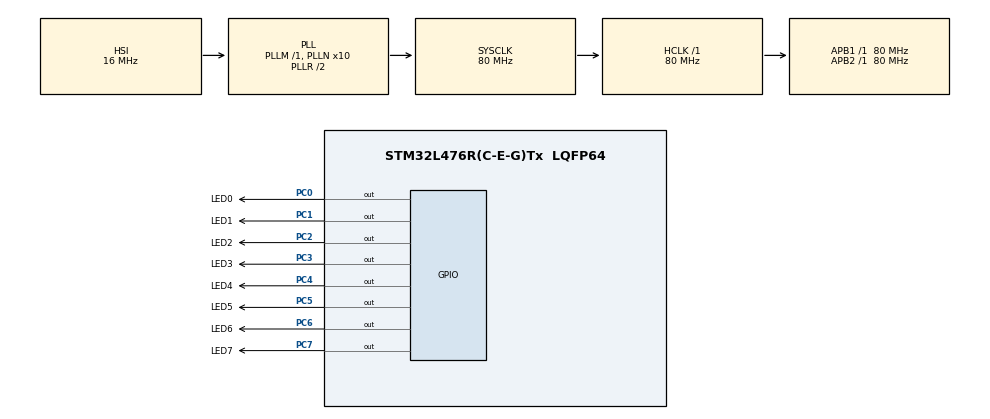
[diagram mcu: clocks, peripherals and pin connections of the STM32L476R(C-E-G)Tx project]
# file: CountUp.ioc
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Mcu.Family=STM32L4
Mcu.Name=STM32L476R(C-E-G)Tx
Mcu.Package=LQFP64
NVIC.PriorityGroup=NVIC_PRIORITYGROUP_4
PC0.GPIO_Label=LED0
PC0.Signal=GPIO_Output
PC1.GPIO_Label=LED1
PC1.Signal=GPIO_Output
PC2.GPIO_Label=LED2
PC2.Signal=GPIO_Output
PC3.GPIO_Label=LED3
PC3.Signal=GPIO_Output
PC4.GPIO_Label=LED4
PC4.Signal=GPIO_Output
PC5.GPIO_Label=LED5
PC5.Signal=GPIO_Output
PC6.GPIO_Label=LED6
PC6.Signal=GPIO_Output
PC7.GPIO_Label=LED7
PC7.Signal=GPIO_Output
PH0-OSC_IN\ (PH0).Mode=HSE-External-Oscillator
PH0-OSC_IN\ (PH0).Signal=RCC_OSC_IN
PH1-OSC_OUT\ (PH1).Mode=HSE-External-Oscillator
PH1-OSC_OUT\ (PH1).Signal=RCC_OSC_OUT
ProjectManager.HeapSize=0x200
ProjectManager.StackSize=0x400
ProjectManager.TargetToolchain=STM32CubeIDE
RCC.ADCFreq_Value=64000000
RCC.AHBFreq_Value=80000000
RCC.APB1Freq_Value=80000000
RCC.APB1TimFreq_Value=80000000
RCC.APB2Freq_Value=80000000
RCC.APB2TimFreq_Value=80000000
RCC.CortexFreq_Value=80000000
RCC.HCLKFreq_Value=80000000
RCC.HSE_VALUE=8000000
RCC.HSI_VALUE=16000000
RCC.LSE_VALUE=32768
RCC.MSI_VALUE=4000000
RCC.PLLN=10
RCC.PLLSourceVirtual=RCC_PLLSOURCE_HSI
RCC.SYSCLKFreq_VALUE=80000000
RCC.SYSCLKSource=RCC_SYSCLKSOURCE_PLLCLK
RCC.USBFreq_Value=64000000
RCC.VCOOutputFreq_Value=160000000
board=custom

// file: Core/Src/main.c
/* USER CODE BEGIN Header */
/**
  ******************************************************************************
  * @file           : main.c
  * @brief          : Main program body
  ******************************************************************************
  * @attention
  *
  * Copyright (c) 2024 STMicroelectronics.
  * All rights reserved.
  *
  * This software is licensed under terms that can be found in the LICENSE file
  * in the root directory of this software component.
  * If no LICENSE file comes with this software, it is provided AS-IS.
  *
  ******************************************************************************
  */
/* USER CODE END Header */
#include "main.h"
#include "math.h"

int count;

void SystemClock_Config(void);
static void MX_GPIO_Init(void);

int main(void)
{

  /* MCU Configuration--------------------------------------------------------*/

  /* Reset of all peripherals, Initializes the Flash interface and the Systick. */
  HAL_Init();

  /* Configure the system clock */
  SystemClock_Config();

  /* Initialize all configured peripherals */
  MX_GPIO_Init();
  /* USER CODE BEGIN 2 */
  int LED[]={LED0_Pin,LED1_Pin,LED2_Pin,LED3_Pin,LED4_Pin,LED5_Pin,LED6_Pin,LED7_Pin};

  void Display(int No, int L)
  {
	  int j, m, i;
	  m = L-1;
	  for (i=0;i<L;i++)
	  {
		  j=pow(2.0,m);
		  if((No & j) != 0)
		  {
			  HAL_GPIO_WritePin(GPIOC, LED[i], 1);
		  }else
		  {
			  HAL_GPIO_WritePin(GPIOC, LED[i], 0);
		  }
		  m--;
	  }
  }

  /* USER CODE END 2 */

  /* Infinite loop */
  /* USER CODE BEGIN WHILE */
  while (1)
  {

	  Display(count, 8);

	  if(count==255)
	  {
		  count=0;
	  }
	  else
	  {
		  ++count;
	  }
	  HAL_Delay(100);
    /* USER CODE END WHILE */

  }
}

void SystemClock_Config(void)
{
  RCC_OscInitTypeDef RCC_OscInitStruct = {0};
  RCC_ClkInitTypeDef RCC_ClkInitStruct = {0};

  /** Configure the main internal regulator output voltage
  */
  if (HAL_PWREx_ControlVoltageScaling(PWR_REGULATOR_VOLTAGE_SCALE1) != HAL_OK)
  {
    Error_Handler();
  }

  /** Initializes the RCC Oscillators according to the specified parameters
  * in the RCC_OscInitTypeDef structure.
  */
  RCC_OscInitStruct.OscillatorType = RCC_OSCILLATORTYPE_HSI;
  RCC_OscInitStruct.HSIState = RCC_HSI_ON;
  RCC_OscInitStruct.HSICalibrationValue = RCC_HSICALIBRATION_DEFAULT;
  RCC_OscInitStruct.PLL.PLLState = RCC_PLL_ON;
  RCC_OscInitStruct.PLL.PLLSource = RCC_PLLSOURCE_HSI;
  RCC_OscInitStruct.PLL.PLLM = 1;
  RCC_OscInitStruct.PLL.PLLN = 10;
  RCC_OscInitStruct.PLL.PLLP = RCC_PLLP_DIV7;
  RCC_OscInitStruct.PLL.PLLQ = RCC_PLLQ_DIV2;
  RCC_OscInitStruct.PLL.PLLR = RCC_PLLR_DIV2;
  if (HAL_RCC_OscConfig(&RCC_OscInitStruct) != HAL_OK)
  {
    Error_Handler();
  }

  /** Initializes the CPU, AHB and APB buses clocks
  */
  RCC_ClkInitStruct.ClockType = RCC_CLOCKTYPE_HCLK|RCC_CLOCKTYPE_SYSCLK
                              |RCC_CLOCKTYPE_PCLK1|RCC_CLOCKTYPE_PCLK2;
  RCC_ClkInitStruct.SYSCLKSource = RCC_SYSCLKSOURCE_PLLCLK;
  RCC_ClkInitStruct.AHBCLKDivider = RCC_SYSCLK_DIV1;
  RCC_ClkInitStruct.APB1CLKDivider = RCC_HCLK_DIV1;
  RCC_ClkInitStruct.APB2CLKDivider = RCC_HCLK_DIV1;

  if (HAL_RCC_ClockConfig(&RCC_ClkInitStruct, FLASH_LATENCY_4) != HAL_OK)
  {
    Error_Handler();
  }
}

static void MX_GPIO_Init(void)
{
  GPIO_InitTypeDef GPIO_InitStruct = {0};

  /* GPIO Ports Clock Enable */
  __HAL_RCC_GPIOH_CLK_ENABLE();
  __HAL_RCC_GPIOC_CLK_ENABLE();

  /*Configure GPIO pin Output Level */
  HAL_GPIO_WritePin(GPIOC, LED0_Pin|LED1_Pin|LED2_Pin|LED3_Pin
                          |LED4_Pin|LED5_Pin|LED6_Pin|LED7_Pin, GPIO_PIN_RESET);

  /*Configure GPIO pins : LED0_Pin LED1_Pin LED2_Pin LED3_Pin
                           LED4_Pin LED5_Pin LED6_Pin LED7_Pin */
  GPIO_InitStruct.Pin = LED0_Pin|LED1_Pin|LED2_Pin|LED3_Pin
                          |LED4_Pin|LED5_Pin|LED6_Pin|LED7_Pin;
  GPIO_InitStruct.Mode = GPIO_MODE_OUTPUT_PP;
  GPIO_InitStruct.Pull = GPIO_NOPULL;
  GPIO_InitStruct.Speed = GPIO_SPEED_FREQ_LOW;
  HAL_GPIO_Init(GPIOC, &GPIO_InitStruct);

}

void Error_Handler(void)
{
  __disable_irq();
  while (1)
  {
  }
}
